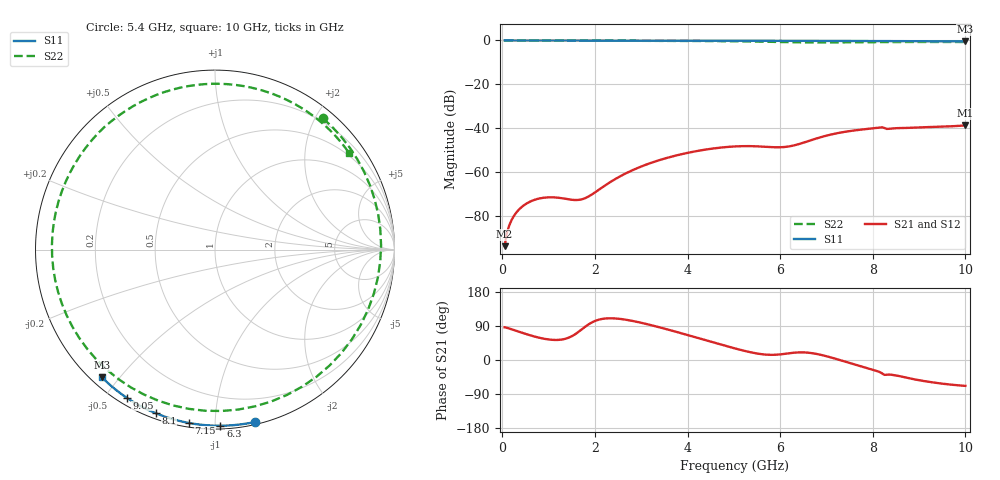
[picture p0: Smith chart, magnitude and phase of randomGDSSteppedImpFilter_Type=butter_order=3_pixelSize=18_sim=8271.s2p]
! freq	dB(S11)	phase(S11)	dB(S12)	phase(S12)
!  dB(S21)	phase(S21)	dB(S22)	phase(S22)
!S-par simulation data
#  GHz  S  DB  R 50
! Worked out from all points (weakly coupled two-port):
!   200 points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, 50 MHz to 10 GHz, reference 50 ohm
!   highest |S21| = -38.78 dB at 10 GHz (marker M1); lowest = -93.8 dB at 50 MHz (marker M2)
!   lowest |S11| = -0.4 dB at 10 GHz (marker M3), VSWR 39.03, Z = 1.54 - j22.5 ohm
!   |S11| at or under -10 dB: nowhere
!   |S22| runs from -0.9 to 0.0 dB; largest |S21 - S12| = 0
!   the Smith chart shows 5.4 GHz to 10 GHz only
!   S11 on the Smith chart (normalised r, x): 5.4 GHz: 0.02, -1.26; 6.3 GHz: 0.02, -1.03; 7.15 GHz: 0.02, -0.86; 8.1 GHz: 0.02, -0.70; 9.05 GHz: 0.03, -0.57; 10 GHz: 0.03, -0.45
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0.05  -0.00 -0.8  -93.83 86.2  -93.83 86.2  -0.00 -3.7
0.25  -0.00 -3.8  -80.07 79.1  -80.07 79.1  -0.02 -18.4
0.45  -0.01 -6.8  -75.44 71.0  -75.44 71.0  -0.05 -32.8
0.9  -0.02 -13.6  -71.71 56.1  -71.71 56.1  -0.08 -63.6
1.3  -0.02 -19.6  -72.00 54.3  -72.00 54.3  -0.10 -88.6
1.75  -0.03 -26.2  -72.25 84.1  -72.25 84.1  -0.12 -113.9
2.55  -0.05 -37.9  -61.91 108.4  -61.91 108.4  -0.15 -153.5
3.4  -0.07 -50.0  -54.53 86.1  -54.53 86.1  -0.18 167.9
4.2  -0.09 -61.0  -50.45 59.0  -50.45 59.0  -0.24 129.5
4.65  -0.10 -67.0  -49.02 43.3  -49.02 43.3  -0.30 104.4
5.05  -0.11 -72.3  -48.31 29.7  -48.31 29.7  -0.37 78.1
5.4  -0.12 -76.8  -48.22 19.4  -48.22 19.4  -0.47 50.6
5.9  -0.14 -83.2  -48.72 13.8  -48.72 13.8  -0.67 1.5
6.3  -0.16 -88.2  -47.87 19.2  -47.87 19.2  -0.84 -45.3
6.5  -0.17 -90.7  -46.65 20.1  -46.65 20.1  -0.89 -69.7
6.7  -0.18 -93.2  -45.26 17.9  -45.26 17.9  -0.92 -93.5
7.15  -0.21 -98.6  -42.66 4.9  -42.66 4.9  -0.90 -141.9
7.6  -0.23 -104.0  -41.05 -11.5  -41.05 -11.5  -0.83 178.3
8.1  -0.27 -109.9  -39.87 -29.6  -39.87 -29.6  -0.75 142.0
8.35  -0.29 -112.8  -40.31 -38.4  -40.31 -38.4  -0.73 125.8
9.05  -0.35 -120.8  -39.63 -54.4  -39.63 -54.4  -0.68 85.4
10  -0.45 -131.6  -38.78 -68.3  -38.78 -68.3  -0.72 35.7
